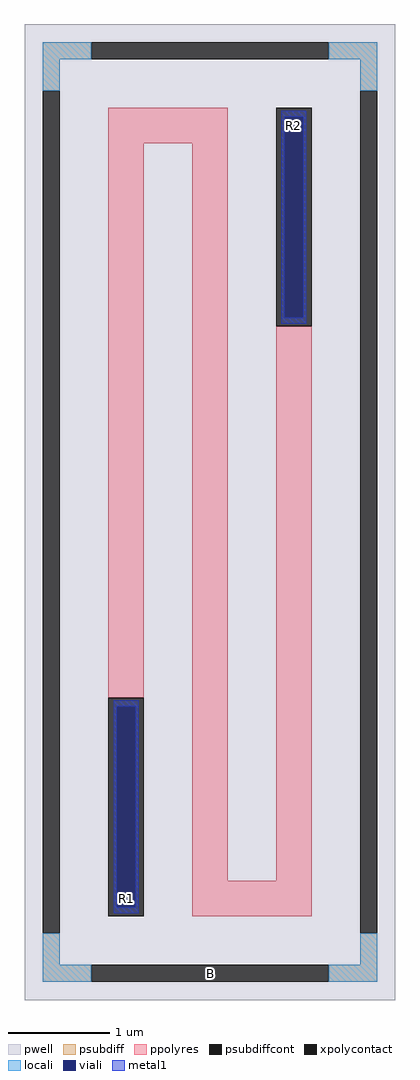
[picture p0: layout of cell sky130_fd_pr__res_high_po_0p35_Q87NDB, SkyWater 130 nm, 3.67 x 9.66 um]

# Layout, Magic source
magic
tech sky130A
magscale 1 2
<< pwell >>
rect -367 -966 367 966
<< psubdiff >>
rect -331 896 -235 930
rect 235 896 331 930
rect -331 834 -297 896
rect 297 834 331 896
rect -331 -896 -297 -834
rect 297 -896 331 -834
rect -331 -930 -235 -896
rect 235 -930 331 -896
<< psubdiffcont >>
rect -235 896 235 930
rect -331 -834 -297 834
rect 297 -834 331 834
rect -235 -930 235 -896
<< xpolycontact >>
rect -201 -800 -131 -368
rect 131 368 201 800
<< ppolyres >>
rect -201 730 35 800
rect -201 -368 -131 730
rect -35 -730 35 730
rect 131 -730 201 368
rect -35 -800 201 -730
<< locali >>
rect -331 896 -235 930
rect 235 896 331 930
rect -331 834 -297 896
rect 297 834 331 896
rect -331 -896 -297 -834
rect 297 -896 331 -834
rect -331 -930 -235 -896
rect 235 -930 331 -896
<< viali >>
rect 147 385 185 782
rect -185 -782 -147 -385
<< metal1 >>
rect 141 782 191 794
rect 141 385 147 782
rect 185 385 191 782
rect 141 373 191 385
rect -191 -385 -141 -373
rect -191 -782 -185 -385
rect -147 -782 -141 -385
rect -191 -794 -141 -782
<< labels >>
rlabel psubdiffcont 0 -913 0 -913 0 B
port 1 nsew
rlabel xpolycontact -166 -765 -166 -765 0 R1
port 2 nsew
rlabel xpolycontact 166 765 166 765 0 R2
port 3 nsew
<< properties >>
string FIXED_BBOX -314 -913 314 913
string gencell sky130_fd_pr__res_high_po_0p35
string library sky130
string parameters w 0.35 l 8.0 m 1 nx 3 wmin 0.350 lmin 0.50 class resistor rho 319.8 val 23.682k dummy 0 dw 0.0 term 194.82 sterm 0.0 caplen 0 guard 1 glc 1 grc 1 gtc 1 gbc 1 compatible {sky130_fd_pr__res_high_po_0p35  sky130_fd_pr__res_high_po_0p69 sky130_fd_pr__res_high_po_1p41  sky130_fd_pr__res_high_po_2p85 sky130_fd_pr__res_high_po_5p73} snake 1 full_metal 1 wmax 0.350 vias 1 n_guard 0 hv_guard 0 viagb 0 viagt 0 viagl 0 viagr 0 doports 1
<< end >>
